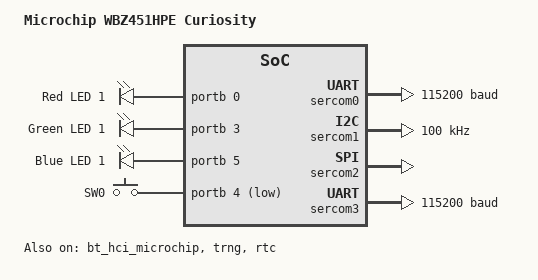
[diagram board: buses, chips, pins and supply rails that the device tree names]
/*
 * Copyright (c) 2025 Microchip Technology Inc.
 *
 * SPDX-License-Identifier: Apache-2.0
 */

/dts-v1/;
#include <microchip/pic32c/pic32cx_bz/bz2x/bz25/pic32cx1012bz25048.dtsi>
#include "wbz451hpe_curiosity-pinctrl.dtsi"
#include <zephyr/dt-bindings/input/input-event-codes.h>
#include <zephyr/dt-bindings/i2c/i2c.h>

/ {
	model = "Microchip WBZ451HPE Curiosity";
	compatible = "microchip,wbz451hpe-curiosity";

	chosen {
		zephyr,console = &sercom0;
		zephyr,shell-uart = &sercom0;
		zephyr,sram = &sram0;
		zephyr,flash = &flash0;
		zephyr,code-partition = &code_partition;
		zephyr,bt-hci = &bt_hci_microchip;
		zephyr,bt-c2h-uart = &sercom0;
	};

	leds {
		compatible = "gpio-leds";
		led0: led_0 {
			gpios = <&portb 0 GPIO_ACTIVE_HIGH>;
			label = "Red LED 1";
		};
		led1: led_1 {
			gpios = <&portb 3 GPIO_ACTIVE_HIGH>;
			label = "Green LED 1";
		};
		led2: led_2 {
			gpios = <&portb 5 GPIO_ACTIVE_HIGH>;
			label = "Blue LED 1";
		};
	};

	buttons {
		compatible = "gpio-keys";
		button0: button_0 {
			gpios = <&portb 4 (GPIO_PULL_UP | GPIO_ACTIVE_LOW)>;
			label = "SW0";
			zephyr,code = <INPUT_KEY_0>;
		};
	};
	/* These aliases are provided for compatibility with samples */
	aliases {
		led0 = &led0;
		led1 = &led1;
		led2 = &led2;
		sw0 = &button0;
		rtc = &rtc;
	};
};

&cpu0 {
	clock-frequency = <64000000>;
};


&sercom0 {
	status = "okay";
	compatible = "microchip,sercom-g1-uart";
	rxpo = <1>;
	txpo = <0>;
	current-speed = <115200>;
	pinctrl-0 = <&sercom0_uart_default>;
	pinctrl-names = "default";

	dmas = <&dmac 0 4>, <&dmac 1 5>;
	dma-names = "rx", "tx";
};

&sercom1 {
	status = "okay";
	compatible = "microchip,sercom-g1-i2c";
	clock-frequency = <I2C_BITRATE_STANDARD>;
	#address-cells = <1>;
	#size-cells = <0>;
	pinctrl-0 = <&sercom1_i2c_default>;
	pinctrl-names = "default";

	dmas = <&dmac 2 6>, <&dmac 3 7>;
	dma-names = "rx", "tx";
};

/* sercom 2 spi master mode */
&sercom2 {
	status = "okay";
	compatible = "microchip,sercom-g1-spi";
	dipo = <3>;
	dopo = <0>;
	#address-cells = <1>;
	#size-cells = <0>;

	pinctrl-0 = <&sercom2_spi_master>;
	pinctrl-names = "default";

	dmas = <&dmac 4 8>, <&dmac 5 9>;
	dma-names = "rx", "tx";
};

/* sercom 2 spi slave mode
 *&sercom2 {
 *	status = "okay";
 *	compatible = "microchip,sercom-g1-spi";
 *	dipo = <0>;
 *	dopo = <2>;
 *	#address-cells = <1>;
 *	#size-cells = <0>;
 *
 *	pinctrl-0 = <&sercom2_spi_slave>;
 *	pinctrl-names = "default";
 *
 *	dmas = <&dmac 4 8>, <&dmac 5 9>;
 *	dma-names = "rx", "tx";
 *};
 */

&sercom3 {
	status = "okay";
	compatible = "microchip,sercom-g1-uart";
	rxpo = <2>;
	txpo = <0>;
	current-speed = <115200>;
	pinctrl-0 = <&sercom3_uart_default>;
	pinctrl-names = "default";

	dmas = <&dmac 6 10>, <&dmac 7 11>;
	dma-names = "rx", "tx";
};

&bt_hci_microchip {
	status = "okay";
};

&trng {
	status = "okay";
};

&flash0 {
	partitions {
		compatible = "fixed-partitions";
		#address-cells = <1>;
		#size-cells = <1>;

		code_partition: partition@0 {
			label = "code";
			reg = <0x0 DT_SIZE_K(1024-16)>;  /* Start at 0x01000000, size 1 MB */
			read-only;
		};

		/*
		 * The final 16 KiB is reserved for the application.
		 * Storage partition will be used by FCB/LittleFS/NVS
		 * if enabled.
		 */
		storage_partition: partition@FC000 {
			label = "storage";
			reg = <0xFC000 0x00004000>;
		};
	};
};

&porta {
	status = "okay";
};

&portb {
	status = "okay";
};

&rtc {
	compatible = "microchip,rtc-g1";
	status = "okay";
	prescaler = <1024>;
	alarms-count = <2>;
	cal-constant = <1048576>;  /*(8192 * 128 = 1048576)*/
};
